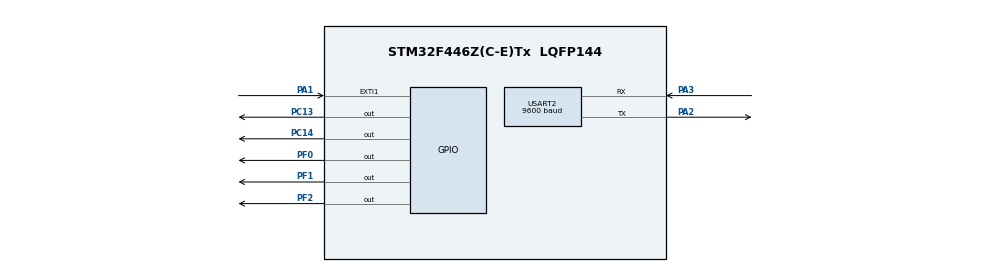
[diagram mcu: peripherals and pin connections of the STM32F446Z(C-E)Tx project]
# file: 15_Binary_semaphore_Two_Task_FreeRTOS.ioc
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FREERTOS.Tasks01=defaultTask,26,128,StartDefaultTask,Default,NULL,Dynamic,NULL,NULL;myTask02,27,128,StartTask02,Default,NULL,Dynamic,NULL,NULL
Mcu.Family=STM32F4
Mcu.Name=STM32F446Z(C-E)Tx
Mcu.Package=LQFP144
NVIC.PriorityGroup=NVIC_PRIORITYGROUP_4
PA1.Signal=GPXTI1
PA2.Mode=Asynchronous
PA2.Signal=USART2_TX
PA3.Mode=Asynchronous
PA3.Signal=USART2_RX
PC13.Signal=GPIO_Output
PC14-OSC32_IN.Signal=GPIO_Output
PF0.Signal=GPIO_Output
PF1.Signal=GPIO_Output
PF2.Signal=GPIO_Output
ProjectManager.HeapSize=0x200
ProjectManager.StackSize=0x400
ProjectManager.TargetToolchain=STM32CubeIDE
RCC.CortexFreq_Value=16000000
RCC.USBFreq_Value=96000000
RCC.VCOOutputFreq_Value=192000000
USART2.BaudRate=9600
USART2.VirtualMode=VM_ASYNC
VP_FREERTOS_VS_CMSIS_V2.Mode=CMSIS_V2
board=custom

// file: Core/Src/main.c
/* USER CODE BEGIN Header */
/**
  ******************************************************************************
  * @file           : main.c
  * @brief          : Main program body
  ******************************************************************************
  * @attention
  *
  * Copyright (c) 2024 STMicroelectronics.
  * All rights reserved.
  *
  * This software is licensed under terms that can be found in the LICENSE file
  * in the root directory of this software component.
  * If no LICENSE file comes with this software, it is provided AS-IS.
  *
  ******************************************************************************
  */
/* USER CODE END Header */
#include "main.h"
#include "cmsis_os.h"

/* USER CODE BEGIN Includes */
#include "semphr.h"
#include "queue.h"
#include "string.h"
#include "stdio.h"
#include  "stdlib.h"
/* USER CODE END Includes */

UART_HandleTypeDef huart2;

/* Definitions for defaultTask */
osThreadId_t defaultTaskHandle;
const osThreadAttr_t defaultTask_attributes = {
  .name = "defaultTask",
  .stack_size = 128 * 4,
  .priority = (osPriority_t) osPriorityNormal3,
};
/* Definitions for myTask02 */
osThreadId_t myTask02Handle;
const osThreadAttr_t myTask02_attributes = {
  .name = "myTask02",
  .stack_size = 128 * 4,
  .priority = (osPriority_t) osPriorityNormal2,
};
/* USER CODE BEGIN PV */
xQueueHandle xQueue = NULL;

xSemaphoreHandle xSempahore = NULL;

char mymesage[100];
/* USER CODE END PV */

void SystemClock_Config(void);
static void MX_GPIO_Init(void);
static void MX_USART2_UART_Init(void);
void Master(void *argument);
void Slave(void *argument);

/* USER CODE BEGIN 0 */
void SlaveDoWork(unsigned int passId)
{
	sprintf(mymesage," Slave task working on Passed Id: %d \r\n",passId);
	printf(mymesage);
	vTaskDelay(passId);
}

/* USER CODE END 0 */

int main(void)
{
  /* USER CODE BEGIN 1 */
	xQueue = xQueueCreate(1, sizeof(unsigned int));

	vSemaphoreCreateBinary(xSempahore);

	if((xQueue != NULL) && (xSempahore != NULL))
	{
		sprintf(mymesage,"Semphore and queue task are created");
		printf(mymesage);
	}
	else
	{
		sprintf(mymesage,"Semphore and queue task are not created");
		printf(mymesage);
	}
  /* USER CODE END 1 */

  /* MCU Configuration--------------------------------------------------------*/

  /* Reset of all peripherals, Initializes the Flash interface and the Systick. */
  HAL_Init();

  /* Configure the system clock */
  SystemClock_Config();

  /* Initialize all configured peripherals */
  MX_GPIO_Init();
  MX_USART2_UART_Init();

  /* Init scheduler */
  osKernelInitialize();

  /* Create the thread(s) */
  /* creation of defaultTask */
  defaultTaskHandle = osThreadNew(Master, NULL, &defaultTask_attributes);

  /* creation of myTask02 */
  myTask02Handle = osThreadNew(Slave, NULL, &myTask02_attributes);

  /* Start scheduler */
  osKernelStart();

  /* We should never get here as control is now taken by the scheduler */
  /* Infinite loop */
  while (1)
  {

  }
}

void SystemClock_Config(void)
{
  RCC_OscInitTypeDef RCC_OscInitStruct = {0};
  RCC_ClkInitTypeDef RCC_ClkInitStruct = {0};

  /** Configure the main internal regulator output voltage
  */
  __HAL_RCC_PWR_CLK_ENABLE();
  __HAL_PWR_VOLTAGESCALING_CONFIG(PWR_REGULATOR_VOLTAGE_SCALE3);

  /** Initializes the RCC Oscillators according to the specified parameters
  * in the RCC_OscInitTypeDef structure.
  */
  RCC_OscInitStruct.OscillatorType = RCC_OSCILLATORTYPE_HSI;
  RCC_OscInitStruct.HSIState = RCC_HSI_ON;
  RCC_OscInitStruct.HSICalibrationValue = RCC_HSICALIBRATION_DEFAULT;
  RCC_OscInitStruct.PLL.PLLState = RCC_PLL_NONE;
  if (HAL_RCC_OscConfig(&RCC_OscInitStruct) != HAL_OK)
  {
    Error_Handler();
  }

  /** Initializes the CPU, AHB and APB buses clocks
  */
  RCC_ClkInitStruct.ClockType = RCC_CLOCKTYPE_HCLK|RCC_CLOCKTYPE_SYSCLK
                              |RCC_CLOCKTYPE_PCLK1|RCC_CLOCKTYPE_PCLK2;
  RCC_ClkInitStruct.SYSCLKSource = RCC_SYSCLKSOURCE_HSI;
  RCC_ClkInitStruct.AHBCLKDivider = RCC_SYSCLK_DIV1;
  RCC_ClkInitStruct.APB1CLKDivider = RCC_HCLK_DIV1;
  RCC_ClkInitStruct.APB2CLKDivider = RCC_HCLK_DIV1;

  if (HAL_RCC_ClockConfig(&RCC_ClkInitStruct, FLASH_LATENCY_0) != HAL_OK)
  {
    Error_Handler();
  }
}

static void MX_USART2_UART_Init(void)
{

  huart2.Instance = USART2;
  huart2.Init.BaudRate = 9600;
  huart2.Init.WordLength = UART_WORDLENGTH_8B;
  huart2.Init.StopBits = UART_STOPBITS_1;
  huart2.Init.Parity = UART_PARITY_NONE;
  huart2.Init.Mode = UART_MODE_TX_RX;
  huart2.Init.HwFlowCtl = UART_HWCONTROL_NONE;
  huart2.Init.OverSampling = UART_OVERSAMPLING_16;
  if (HAL_UART_Init(&huart2) != HAL_OK)
  {
    Error_Handler();
  }

}

static void MX_GPIO_Init(void)
{
  GPIO_InitTypeDef GPIO_InitStruct = {0};

  /* GPIO Ports Clock Enable */
  __HAL_RCC_GPIOC_CLK_ENABLE();
  __HAL_RCC_GPIOF_CLK_ENABLE();
  __HAL_RCC_GPIOA_CLK_ENABLE();

  /*Configure GPIO pin Output Level */
  HAL_GPIO_WritePin(GPIOC, GPIO_PIN_13|GPIO_PIN_14, GPIO_PIN_RESET);

  /*Configure GPIO pin Output Level */
  HAL_GPIO_WritePin(GPIOF, GPIO_PIN_0|GPIO_PIN_1|GPIO_PIN_2, GPIO_PIN_RESET);

  /*Configure GPIO pins : PC13 PC14 */
  GPIO_InitStruct.Pin = GPIO_PIN_13|GPIO_PIN_14;
  GPIO_InitStruct.Mode = GPIO_MODE_OUTPUT_PP;
  GPIO_InitStruct.Pull = GPIO_NOPULL;
  GPIO_InitStruct.Speed = GPIO_SPEED_FREQ_LOW;
  HAL_GPIO_Init(GPIOC, &GPIO_InitStruct);

  /*Configure GPIO pins : PF0 PF1 PF2 */
  GPIO_InitStruct.Pin = GPIO_PIN_0|GPIO_PIN_1|GPIO_PIN_2;
  GPIO_InitStruct.Mode = GPIO_MODE_OUTPUT_PP;
  GPIO_InitStruct.Pull = GPIO_NOPULL;
  GPIO_InitStruct.Speed = GPIO_SPEED_FREQ_LOW;
  HAL_GPIO_Init(GPIOF, &GPIO_InitStruct);

  /*Configure GPIO pin : PA1 */
  GPIO_InitStruct.Pin = GPIO_PIN_1;
  GPIO_InitStruct.Mode = GPIO_MODE_IT_RISING;
  GPIO_InitStruct.Pull = GPIO_NOPULL;
  HAL_GPIO_Init(GPIOA, &GPIO_InitStruct);

}

void Master(void *argument)
{
	unsigned int xMasterPassId;
	portBASE_TYPE xStatus;

	xSemaphoreGive(xSempahore); // aktif etmek için bunu tanımlamamız gerekiyor
  /* USER CODE BEGIN 5 */
  /* Infinite loop */
  for(;;)
  {
	  xMasterPassId = (rand()  &  0x1FF);

	  xStatus = xQueueReceive(xQueue, &xMasterPassId, 0);
    osDelay(1);
  }
  /* USER CODE END 5 */
}

void Slave(void *argument)
{
	unsigned int xSlavePassId;
	portBASE_TYPE xStatus;
  /* USER CODE BEGIN StartTask02 */
  /* Infinite loop */
  for(;;)
  {
	  xSemaphoreTake(xSempahore,0);
	  xStatus = xQueueReceive(xQueue, &xSlavePassId, 0);

	  if(xStatus != pdPASS)
	  {
		  sprintf(mymesage,"Slave Task : Queu is empty, noting to do \r\n");
	  }
	  else
	  {
		  SlaveDoWork(xSlavePassId);
	  }

    osDelay(1);
  }
  /* USER CODE END StartTask02 */
}

void Error_Handler(void)
{
  __disable_irq();
  while (1)
  {
  }
}
